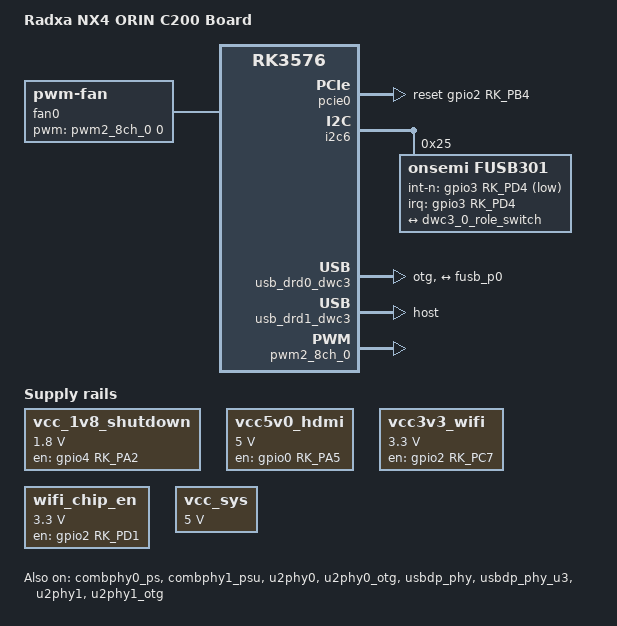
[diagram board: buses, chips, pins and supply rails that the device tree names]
// SPDX-License-Identifier: (GPL-2.0+ OR MIT)
/*
 * Copyright (c) 2024 Rockchip Electronics Co., Ltd.
 * Copyright (c) 2025 Radxa Computer (Shenzhen) Co., Ltd.
 *
 */

/dts-v1/;
#include "rk3576-radxa-nx4.dtsi"

/ {
	model = "Radxa NX4 ORIN C200 Board";
	compatible = "radxa,nx4-orin-c200", "radxa,nx4", "rockchip,rk3576";

	vcc_1v8_shutdown: vcc-1v8-shutdown {
		compatible = "regulator-fixed";
		regulator-name = "vcc_power";
		regulator-always-on;
		regulator-boot-on;
		regulator-min-microvolt = <1800000>;
		regulator-max-microvolt = <1800000>;
		gpio = <&gpio4 RK_PA2 GPIO_ACTIVE_HIGH>;
		enable-active-high;
		pinctrl-names = "default";
		pinctrl-0 = <&shutdown_en>;
	};

	vcc5v0_hdmi: vcc5v0-hdmi {
		compatible = "regulator-fixed";
		regulator-name = "vcc5v0_hdmi";
		regulator-boot-on;
		regulator-always-on;
		regulator-min-microvolt = <5000000>;
		regulator-max-microvolt = <5000000>;
		enable-active-high;
		gpio = <&gpio0 RK_PA5 GPIO_ACTIVE_HIGH>;
		pinctrl-names = "default";
		pinctrl-0 = <&hdmi_en>;
	};

	vcc3v3_wifi: vcc3v3-wifi {
		compatible = "regulator-fixed";
		regulator-name = "vcc3v3_wifi";
		regulator-min-microvolt = <3300000>;
		regulator-max-microvolt = <3300000>;
		regulator-boot-on;
		regulator-always-on;
		enable-active-high;
		gpios = <&gpio2 RK_PC7 GPIO_ACTIVE_HIGH>;
		startup-delay-us = <5000>;
		pinctrl-names = "default";
		pinctrl-0 = <&usb_wifi_power_en>;
	};

	wifi_chip_en: wifi-chip-en {
		compatible = "regulator-fixed";
		regulator-name = "wifi_chip_en";
		regulator-min-microvolt = <3300000>;
		regulator-max-microvolt = <3300000>;
		regulator-boot-on;
		regulator-always-on;
		enable-active-high;
		gpios = <&gpio2 RK_PD1 GPIO_ACTIVE_HIGH>;
		startup-delay-us = <5000>;
		pinctrl-names = "default";
		pinctrl-0 = <&wifi_chip_en_pin>;
	};

	fan0: pwm-fan {
		compatible = "pwm-fan";
		#cooling-cells = <2>;
		cooling-levels = <0 64 128 192 255>;
		pwms = <&pwm2_8ch_0 0 60000 0>;
	};

	vcc_sys: vcc5v0-sys {
		compatible = "regulator-fixed";
		regulator-name = "vcc_sys";
		regulator-always-on;
		regulator-boot-on;
		regulator-min-microvolt = <5000000>;
		regulator-max-microvolt = <5000000>;
	};
};

&combphy0_ps {
	status = "okay";
};

&combphy1_psu {
	status = "okay";
};

&pcie0 {
	reset-gpios = <&gpio2 RK_PB4 GPIO_ACTIVE_HIGH>;
	rockchip,skip-scan-in-resume;
	status = "okay";
};

&i2c6 {
	status = "okay";
	pinctrl-names = "default";
	pinctrl-0 = <&i2c6m3_xfer>;

	fusb301@25 {
		compatible = "onsemi,fusb301";
		reg = <0x25>;
		status = "okay";
		#address-cells = <1>;
		#size-cells = <0>;
		interrupt-parent = <&gpio3>;
		interrupts = <RK_PD4 IRQ_TYPE_LEVEL_LOW>;
		int-n-gpios = <&gpio3 RK_PD4 GPIO_ACTIVE_LOW>;
		pinctrl-names = "default";
		pinctrl-0 = <&usbc0_int>;
		connector@0 {
			port@0 {
				fusb_p0: endpoint {
					remote-endpoint = <&dwc3_0_role_switch>;
				};
			};
		};
	};
};

&u2phy0 {
	status = "okay";
};

&u2phy0_otg {
	status = "okay";
};

&usb_drd0_dwc3 {
	extcon = <&u2phy0>;
	dr_mode = "otg";
	status = "okay";
	usb-role-switch;
	port {
		#address-cells = <1>;
		#size-cells = <0>;
		dwc3_0_role_switch: endpoint@0 {
			reg = <0>;
			remote-endpoint = <&fusb_p0>;
		};
	};
};

&usbdp_phy {
	rockchip,dp-lane-mux = <2 3>;
	status = "okay";
};

&usbdp_phy_dp {
	status = "disabled";
};

&usbdp_phy_u3 {
	status = "okay";
};

&u2phy1 {
	status = "okay";
};

&u2phy1_otg {
	status = "okay";
};

&usb_drd1_dwc3 {
	dr_mode = "host";
	status = "okay";
};

&pwm2_8ch_0{
	pinctrl-0 = <&pwm2m0_ch0>;
	status = "okay";
};

&pinctrl {
	shutdown {
		shutdown_en: shutdown-en {
			rockchip,pins = <4 RK_PA2 RK_FUNC_GPIO &pcfg_pull_up>;
		};
	};

	usb-typec {
		usbc0_int: usbc0-int {
			rockchip,pins = <3 RK_PD4 RK_FUNC_GPIO &pcfg_pull_up>;
		};
	};

	hdmi {
		hdmi_en: hdmi-en {
			rockchip,pins = <0 RK_PA5 RK_FUNC_GPIO &pcfg_pull_up>;
		};
	};

	wifi {
		usb_wifi_power_en: usb-wifi-power-en {
			rockchip,pins = <2 RK_PC7 RK_FUNC_GPIO &pcfg_pull_none>;
		};

		wifi_chip_en_pin: wifi-chip-en-pin {
			rockchip,pins = <2 RK_PD1 RK_FUNC_GPIO &pcfg_pull_none>;
		};
	};
};

&gpio0 {
	gpio-line-names =
		/* GPIO0_A0-A3 */
		"", "", "", "",
		/* GPIO0_A4-A7 */
		"", "", "", "",

		/* GPIO0_B0-B3 */
		"", "", "", "",
		/* GPIO0_B4-B7 */
		"", "", "", "",

		/* GPIO0_C0-C3 */
		"", "", "", "",
		/* GPIO0_C4-C7 */
		"", "", "", "",

		/* GPIO0_D0-D3 */
		"", "", "", "",
		/* GPIO0_D4-D7 */
		"PIN_8", "PIN_10", "", "";
};

&gpio1 {
	gpio-line-names =
		/* GPIO1_A0-A3 */
		"", "", "", "",
		/* GPIO1_A4-A7 */
		"", "", "", "",

		/* GPIO1_B0-B3 */
		"", "", "", "",
		/* GPIO1_B4-B7 */
		"PIN_23", "PIN_19", "PIN_21", "PIN_24",

		/* GPIO1_C0-C3 */
		"PIN_26", "PIN_31", "PIN_33", "PIN_7",
		/* GPIO1_C4-C7 */
		"PIN_11", "PIN_15", "PIN_5", "PIN_3",

		/* GPIO1_D0-D3 */
		"PIN_40", "PIN_12", "PIN_35", "PIN_38",
		/* GPIO1_D4-D7 */
		"PIN_36", "PIN_32", "", "";
};

&gpio2 {
	gpio-line-names =
		/* GPIO2_A0-A3 */
		"", "", "", "",
		/* GPIO2_A4-A7 */
		"", "", "", "",

		/* GPIO2_B0-B3 */
		"", "", "", "",
		/* GPIO2_B4-B7 */
		"", "", "PIN_16", "PIN_18",

		/* GPIO2_C0-C3 */
		"PIN_13", "", "", "",
		/* GPIO2_C4-C7 */
		"", "", "", "",

		/* GPIO2_D0-D3 */
		"", "", "", "",
		/* GPIO2_D4-D7 */
		"", "", "", "PIN_22";
};

&gpio3 {
	gpio-line-names =
		/* GPIO3_A0-A3 */
		"", "", "PIN_29", "PIN_37",
		/* GPIO3_A4-A7 */
		"", "", "", "",

		/* GPIO3_B0-B3 */
		"", "", "", "",
		/* GPIO3_B4-B7 */
		"", "", "", "",

		/* GPIO3_C0-C3 */
		"", "", "", "",
		/* GPIO3_C4-C7 */
		"", "", "", "",

		/* GPIO3_D0-D3 */
		"", "", "", "",
		/* GPIO3_D4-D7 */
		"", "", "", "";
};

&gpio4 {
	gpio-line-names =
		/* GPIO4_A0-A3 */
		"", "", "", "",
		/* GPIO4_A4-A7 */
		"", "", "", "",

		/* GPIO4_B0-B3 */
		"", "", "", "",
		/* GPIO4_B4-B7 */
		"", "", "", "",

		/* GPIO4_C0-C3 */
		"", "", "", "",
		/* GPIO4_C4-C7 */
		"", "", "PIN_28", "PIN_27",

		/* GPIO4_D0-D3 */
		"", "", "", "",
		/* GPIO4_D4-D7 */
		"", "", "", "";
};
